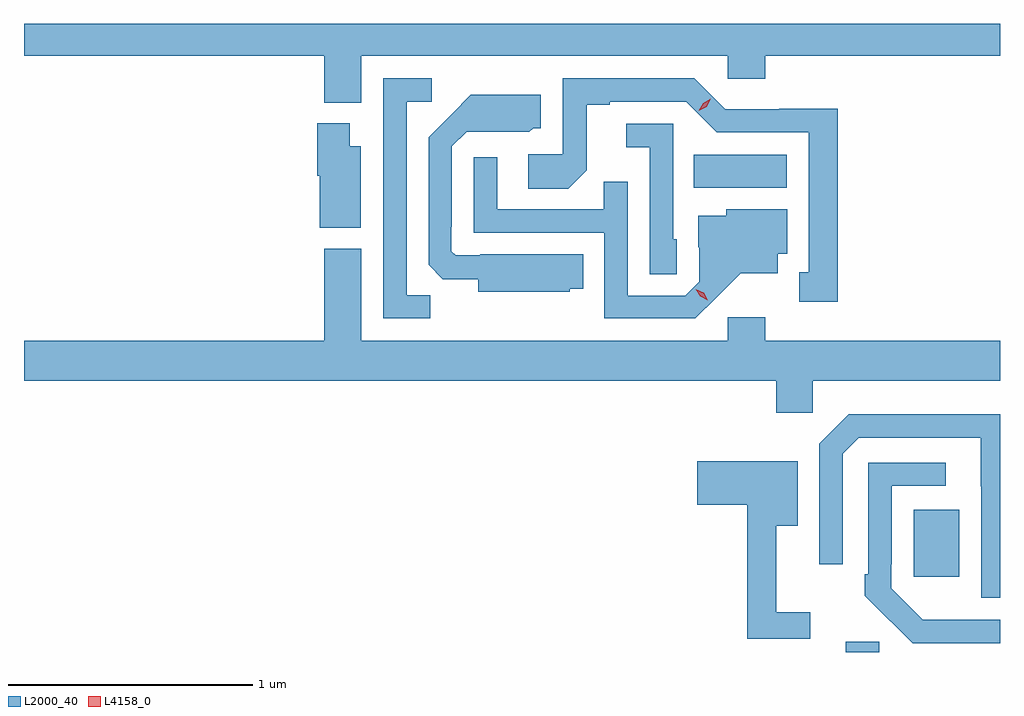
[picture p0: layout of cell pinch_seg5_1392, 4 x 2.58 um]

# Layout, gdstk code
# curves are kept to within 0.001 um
import gdstk
lib = gdstk.Library(unit=1e-6, precision=1e-09)
def R(c, l, rs):  # rectangles x0, y0, x1, y1
    for r in rs: c.add(gdstk.rectangle(r[:2], r[2:], *l))
def P(c, l, *ps):  # polygons
    for p in ps: c.add(gdstk.Polygon(p, *l))
L2000_40 = (2000, 40)
L4158_0 = (4158, 0)

pinch_seg5_1392 = lib.new_cell('pinch_seg5_1392')
R(pinch_seg5_1392, L2000_40, [(125.558,912.923,125.697,912.966), (125.837,913.233,126.025,913.507), (124.936,914.828,125.317,914.962)])
P(pinch_seg5_1392, L2000_40, [(123.574,915.368),(125.076,915.368),(125.076,915.275),(125.228,915.275),(125.228,915.368),(126.191,915.368),(126.191,915.5),(122.191,915.5),(122.191,915.368),(123.422,915.368),(123.422,915.176),(123.574,915.176)],
  [(125.527,915.152),(125.286,915.152),(125.286,915.15),(125.064,915.15),(124.938,915.276),(124.398,915.276),(124.398,914.964),(124.257,914.964),(124.257,914.824),(124.421,914.824),(124.497,914.9),(124.497,915.168),(124.591,915.168),(124.591,915.18),(124.905,915.18),(125.031,915.054),(125.408,915.054),(125.408,914.481),(125.369,914.481),(125.369,914.361),(125.527,914.361)],
  [(123.855,914.387),(123.759,914.387),(123.759,915.18),(123.862,915.18),(123.862,915.276),(123.663,915.276),(123.663,914.292),(123.855,914.292)],
  [(124.428,914.414),(124.484,914.414),(124.484,914.554),(124.06,914.554),(124.06,914.55),(123.96,914.55),(123.942,914.568),(123.942,914.668),(123.945,914.668),(123.945,914.997),(124.005,915.057),(124.262,915.056),(124.278,915.072),(124.309,915.072),(124.309,915.208),(124.021,915.208),(123.849,915.034),(123.849,914.512),(123.908,914.453),(124.052,914.453),(124.052,914.402),(124.428,914.402)],
  [(123.571,914.998),(123.526,914.998),(123.526,915.091),(123.392,915.091),(123.392,914.877),(123.404,914.877),(123.404,914.663),(123.571,914.663)],
  [(124.866,914.616),(124.851,914.616),(124.851,915.09),(124.659,915.09),(124.659,914.993),(124.755,914.993),(124.755,914.473),(124.866,914.473)],
  [(125.026,914.375),(125.129,914.477),(125.281,914.477),(125.281,914.556),(125.32,914.556),(125.32,914.74),(125.07,914.74),(125.07,914.713),(124.955,914.713),(124.955,914.584),(124.959,914.584),(124.959,914.442),(124.902,914.385),(124.665,914.385),(124.665,914.852),(124.567,914.852),(124.567,914.739),(124.131,914.739),(124.131,914.953),(124.035,914.953),(124.035,914.643),(124.569,914.643),(124.569,914.292),(124.942,914.292)],
  [(125.424,914.036),(126.191,914.036),(126.191,914.2),(125.228,914.2),(125.228,914.296),(125.076,914.296),(125.076,914.2),(123.574,914.2),(123.574,914.578),(123.422,914.578),(123.422,914.2),(122.191,914.2),(122.191,914.036),(125.273,914.036),(125.273,913.905),(125.424,913.905)],
  [(126.191,913.9),(125.572,913.9),(125.451,913.779),(125.451,913.284),(125.547,913.284),(125.547,913.737),(125.613,913.803),(126.113,913.803),(126.113,913.603),(126.114,913.603),(126.114,913.146),(126.191,913.146)],
  [(125.413,913.087),(125.273,913.087),(125.273,913.442),(125.362,913.442),(125.362,913.707),(124.95,913.707),(124.95,913.529),(125.155,913.529),(125.155,912.978),(125.413,912.978)],
  [(126.191,913.056),(125.874,913.057),(125.745,913.185),(125.745,913.285),(125.748,913.285),(125.748,913.605),(125.968,913.605),(125.968,913.701),(125.652,913.701),(125.652,913.243),(125.637,913.243),(125.637,913.155),(125.834,912.96),(126.191,912.96)])
P(pinch_seg5_1392, L4158_0, [(124.956,915.142),(124.956,915.142),(124.974,915.174),(125.006,915.193),(125.006,915.193),(125.006,915.193),(124.989,915.16),(124.957,915.142)],
  [(124.993,914.367),(124.962,914.382),(124.945,914.411),(124.945,914.411),(124.945,914.411),(124.976,914.396),(124.993,914.367),(124.993,914.367)])

lib.write_gds('pinch_seg5_1392.gds')
